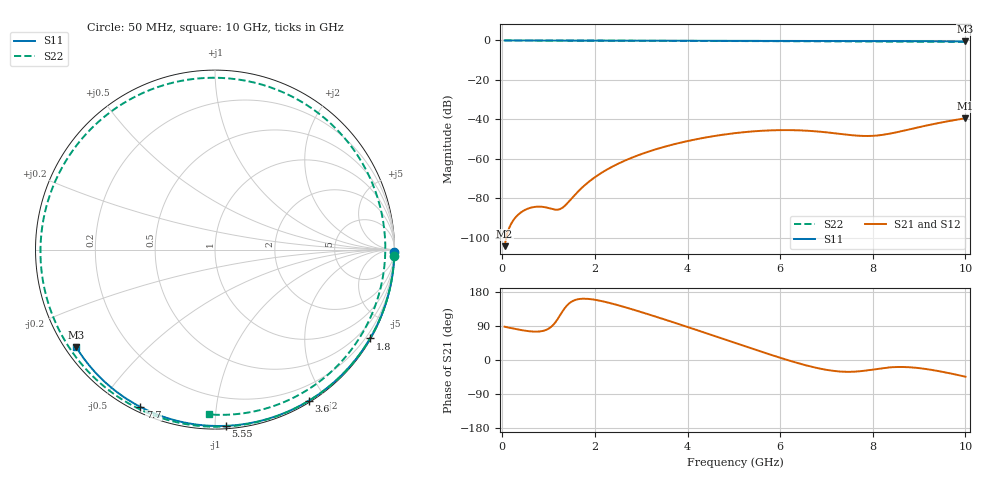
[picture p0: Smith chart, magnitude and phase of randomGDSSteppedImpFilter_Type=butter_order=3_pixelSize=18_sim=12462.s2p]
! freq	dB(S11)	phase(S11)	dB(S12)	phase(S12)
!  dB(S21)	phase(S21)	dB(S22)	phase(S22)
!S-par simulation data
#  GHz  S  DB  R 50
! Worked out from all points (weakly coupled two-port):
!   200 points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, 50 MHz to 10 GHz, reference 50 ohm
!   highest |S21| = -39.40 dB at 10 GHz (marker M1); lowest = -104.1 dB at 50 MHz (marker M2)
!   lowest |S11| = -0.5 dB at 10 GHz (marker M3), VSWR 35.43, Z = 1.55 - j15.8 ohm
!   |S11| at or under -10 dB: nowhere
!   |S22| runs from -0.7 to 0.0 dB; largest |S21 - S12| = 0
!   S11 on the Smith chart (normalised r, x): 50 MHz: open; 1.8 GHz: 0.03, -3.76; 3.6 GHz: 0.02, -1.80; 5.55 GHz: 0.02, -1.06; 7.7 GHz: 0.02, -0.63; 10 GHz: 0.03, -0.32
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0.05  -0.00 -0.9  -104.15 87.9  -104.15 87.9  -0.01 -2.2
0.7  -0.01 -11.7  -84.27 74.9  -84.27 74.9  -0.03 -29.9
1.5  -0.03 -24.9  -79.90 154.2  -79.90 154.2  -0.08 -63.2
1.75  -0.04 -29.0  -73.91 161.7  -73.91 161.7  -0.09 -73.5
1.8  -0.04 -29.8  -72.88 161.7  -72.88 161.7  -0.10 -75.5
2.15  -0.05 -35.4  -66.91 155.4  -66.91 155.4  -0.11 -89.7
2.6  -0.05 -42.6  -61.33 141.1  -61.33 141.1  -0.14 -107.9
3.4  -0.07 -55.1  -54.51 111.1  -54.51 111.1  -0.18 -140.3
3.6  -0.08 -58.1  -53.20 103.2  -53.20 103.2  -0.19 -148.6
4.35  -0.10 -69.3  -49.29 73.0  -49.29 73.0  -0.24 179.4
4.7  -0.11 -74.4  -47.94 58.7  -47.94 58.7  -0.27 163.6
5.05  -0.12 -79.5  -46.86 44.2  -46.86 44.2  -0.30 147.2
5.55  -0.14 -86.6  -45.81 23.7  -45.81 23.7  -0.34 122.4
6.15  -0.17 -94.8  -45.38 0.2  -45.38 0.2  -0.38 90.8
6.7  -0.20 -102.3  -45.88 -18.4  -45.88 -18.4  -0.41 60.7
7.2  -0.23 -108.9  -47.04 -29.4  -47.04 -29.4  -0.43 33.4
7.7  -0.27 -115.4  -48.24 -29.9  -48.24 -29.9  -0.45 7.0
8.35  -0.32 -123.8  -47.26 -19.7  -47.26 -19.7  -0.49 -24.7
8.75  -0.35 -129.0  -45.24 -18.8  -45.24 -18.8  -0.53 -42.6
9.15  -0.39 -134.1  -43.12 -23.8  -43.12 -23.8  -0.58 -59.4
9.55  -0.44 -139.2  -41.22 -32.3  -41.22 -32.3  -0.65 -75.2
10  -0.49 -144.9  -39.40 -44.0  -39.40 -44.0  -0.74 -92.1
